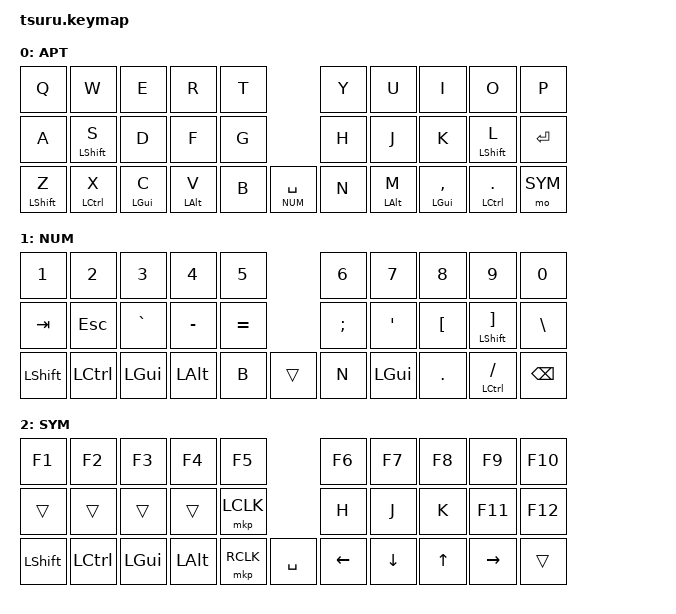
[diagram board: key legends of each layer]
#include "base_tsuru.h"


//   00  01  02  03  04  05  06  07  08  09
//  10  11  12  13  14    15  16  17  18  19
// 20  21  22  23  24  25  26  27  28  29  30

/ {

    keymap {
        compatible = "zmk,keymap";

        aptmak {
            label = "APT";

            bindings = <
                &kp Q          &kp W          &kp E          &kp R          &kp T                         &kp Y          &kp U          &kp I           &kp O          &kp P
                &kp A          &mt LSHIFT S   &kp D          &kp F          &kp G                         &kp H          &kp J          &kp K           &mt LSHIFT L   &kp RET
                &mt LSHIFT Z   &mt LCTRL X    &mt LGUI C     &mt LALT V     &kp B      &lt NUM SPACE      &kp N          &mt LALT M     &mt LGUI COMMA  &mt LCTRL DOT  &mo SYM
            >;
        };
        numbers {
            label = "NUM";

            bindings = <
                &kp N1         &kp N2         &kp N3         &kp N4         &kp N5                        &kp N6         &kp N7         &kp N8           &kp N9                   &kp N0
                &kp TAB        &kp ESCAPE     &kp GRAVE      &kp MINUS      &kp EQUAL                     &kp SEMICOLON  &kp APOSTROPHE &kp LEFT_BRACKET &mt LSHIFT RIGHT_BRACKET &kp BACKSLASH
                &kp LSHIFT     &kp LCTRL      &kp LGUI       &kp LALT       &kp B      &trans             &kp N          &kp LGUI       &kp DOT          &mt LCTRL SLASH          &kp BSPC
            >;
        };
        symbols {
            label = "SYM";

            bindings = <
                &kp F1         &kp F2         &kp F3         &kp F4          &kp F5                       &kp F6         &kp F7         &kp F8           &kp F9            &kp F10
                &trans         &trans         &trans         &trans          &mkp LCLK                    &kp H          &kp J          &kp K            &kp F11           &kp F12
                &kp LSHIFT     &kp LCTRL      &kp LGUI       &kp LALT        &mkp RCLK  &kp SPACE         &kp LEFT       &kp DOWN       &kp UP           &kp RIGHT         &trans
            >;
        };
        /*navigation {*/
            /*label = "NAV";*/
/**/
            /*bindings = <*/
                /*&none          &kp INSERT     &kp UP         &kp BSPC        &kp C_VOL_UP                 &kp C_VOL_UP   &kp BSPC       &kp DEL        &kp INSERT     &kp RIGHT*/
                /*&kp LCTRL      &hl LALT LEFT  &hl LGUI DOWN  &hl LSHFT RIGHT &kp C_VOL_DN                 &kp C_MUTE     &kp LEFT       &kp DOWN       &kp UP         &kp RIGHT*/
                /*&trans         &kp HOME       &kp PG_DN      &kp END         &trans       &trans          &trans         &kp HOME       &kp PG_UP      &kp END        &trans*/
            /*>;*/
        /*};*/
        /*symbols {*/
            /*label = "SYM";*/
/**/
            /*bindings = <*/
                /*&trans         &kp GRAVE      &kp DQT        &kp RA(LS(SEMI)) &trans                      &trans         &kp BACKSLASH  &kp PIPE       &kp LT         &kp CARET*/
                /*&kp EXCL       &kp AT         &kp HASH       &kp DOLLAR      &trans                       &trans         &kp AMPERSAND  &kp ASTERISK   &kp PERCENT    &kp CARET*/
                /*&trans         &kp TILDE      &kp SQT        &kp UNDERSCORE  &trans       &trans          &trans         &kp MINUS      &kp PLUS       &kp EQUAL      &none*/
            /*>;*/
        /*};*/
        /*function {*/
            /*label = "FUN";*/
/**/
            /*bindings = <*/
                /*&none          &bootloader    &trans         &trans          &trans                       &kp F12        &kp F7         &kp F8         &kp F9         &none*/
                /*&none          &kp F12        &kp F11        &kp F10         &trans                       &kp F11        &kp F4         &kp F5         &kp F6         &kp F10*/
                /*&none          &kp F9         &kp F8         &kp F7          &trans        &trans         &trans         &kp F1         &kp F2         &kp F3         &none*/
            /*>;*/
        /*};*/

    };
};
